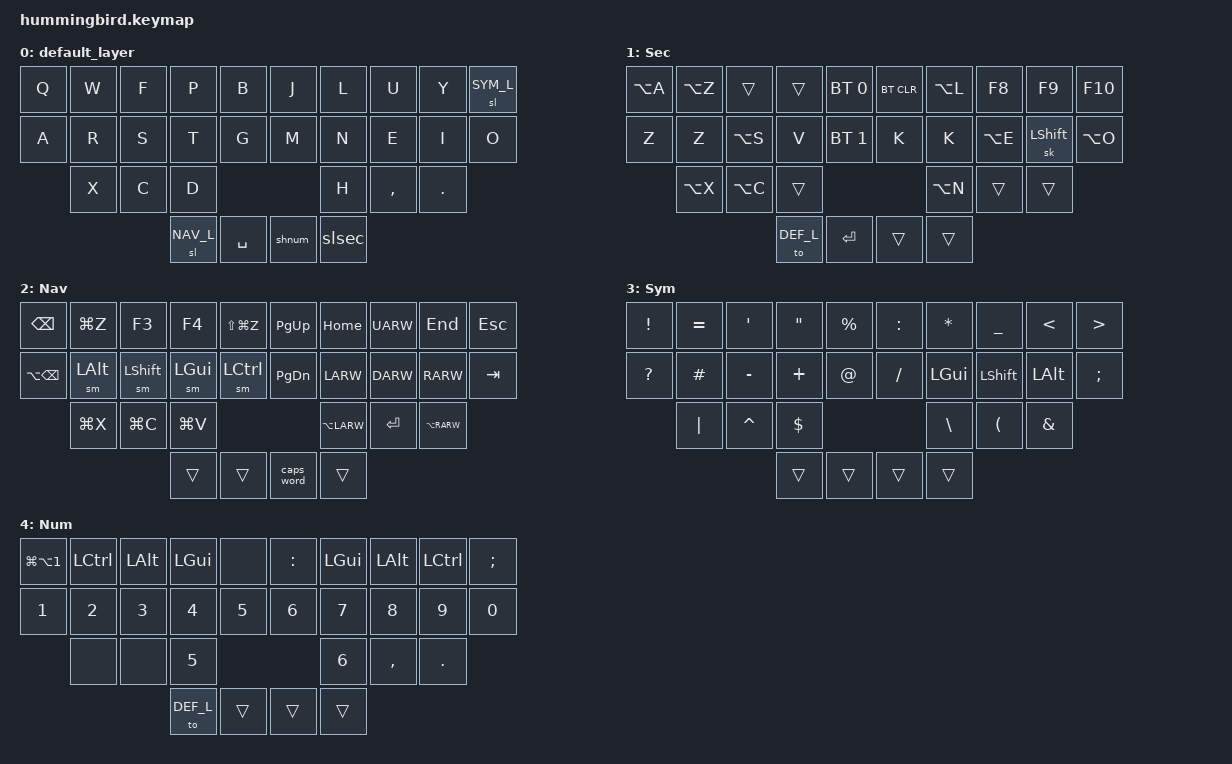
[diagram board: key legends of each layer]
/*
 * Copyright (c) 2020 The ZMK Contributors
 *
 * SPDX-License-Identifier: MIT
 */

#include <behaviors.dtsi>
#include <dt-bindings/zmk/keys.h>
#include <dt-bindings/zmk/bt.h>

/* Layers */
#define DEF_L 0
#define SEC_L 1
#define NAV_L 2
#define SYM_L 3
#define NUM_L 4

/* Shortcuts */
#define CUT LG(X)
#define COPY LG(C)
#define PASTE LG(V)
#define UNDO LG(Z)
#define REDO LS(LG(Z))
#define SLALL LG(A)
#define BSWRD LA(BSPC)
#define LWRD LA(LARW)
#define RWRD LA(RARW)
#define HDR LG(LA(1))
#define PLA LA(A)
#define PLC LA(C)
#define PLE LA(E)
#define PLL LA(L)
#define PLN LA(N)
#define PLO LA(O)
#define PLS LA(S)
#define PLZ LA(Z)
#define PLZI LA(X)

/* Behavior Settings */
&sk {
  release-after-ms = <250>;
  quick-release;
};

&sl {
  release-after-ms = <250>;
};

/ {
    behaviors {
        sm: sticky_mod {
            compatible = "zmk,behavior-sticky-key";
            label = "STICKY_MOD";
            #binding-cells = <1>;
            release-after-ms = <1500>;
            bindings = <&kp>;
            ignore-modifiers;
            quick-release;
        };

        shnum: shift_num {
            compatible = "zmk,behavior-tap-dance";
            label = "SHIFT_NUM";
            #binding-cells = <0>;
            tapping-term-ms = <200>;
            bindings = <&sk LSHIFT >, <&tog NUM_L>;
        };
    };

    macros {
        slsec: sl_sec {
            label = "SL_SEC";
            compatible = "zmk,behavior-macro";
            #binding-cells = <0>;
            wait-ms = <0>;
            tap-ms = <0>;
            bindings
                = <&macro_tap &sl SEC_L>
                ;
        };
    };

    combos {
        compatible = "zmk,combos";

        /*                KEY POSITIONS

             0   1   2   3   4      5   6   7   8   9
            10  11  12  13  14     15  16  17  18  19
                20  21  22             23  24  25
                        26  27     28  29              */

        /* Letters */
        v { key-positions = <12 13>; bindings = <&kp V>; layers = <DEF_L>; };
        k { key-positions = <16 17>; bindings = <&kp K>; layers = <DEF_L>; };
        z { key-positions = <10 11>; bindings = <&kp Z>; layers = <DEF_L>; };

        /* Symbols */
        bswrd { key-positions = <15 16>; bindings = <&kp BSWRD>; layers = <DEF_L>; };
        semi { key-positions = <24 25>; bindings = <&kp SEMI>; layers = <DEF_L SYM_L NUM_L>; };
        tilde { key-positions = <10 11>; bindings = <&kp TILDE>; layers = <SYM_L>; };

        /* Brackets */
        lbkt { key-positions = <1 11>; bindings = <&kp LBKT>; layers = <DEF_L SYM_L NUM_L>; };
        rbkt { key-positions = <8 18>; bindings = <&kp RBKT>; layers = <DEF_L SYM_L NUM_L>; };
        lpar { key-positions = <2 12>; bindings = <&kp LPAR>; layers = <DEF_L SYM_L NUM_L>; };
        rpar { key-positions = <7 17>; bindings = <&kp RPAR>; layers = <DEF_L SYM_L NUM_L>; };
        lbrc { key-positions = <3 13>; bindings = <&kp LBRC>; layers = <DEF_L SYM_L NUM_L>; };
        rbrc { key-positions = <6 16>; bindings = <&kp RBRC>; layers = <DEF_L SYM_L NUM_L>; };

        /* Convenience */
        esc { key-positions = <3 4>; bindings = <&kp ESC>; };
        del { key-positions = <13 14>; bindings = <&kp DEL>; };
        slall { key-positions = <20 21>; bindings = <&kp SLALL>; layers = <NAV_L>; };
    };

    keymap {
        compatible = "zmk,keymap";
        default_layer {
            bindings = <
                &kp Q     &kp W     &kp F     &kp P     &kp B       &kp J    &kp L     &kp U     &kp Y     &sl SYM_L
                &kp A     &kp R     &kp S     &kp T     &kp G       &kp M    &kp N     &kp E     &kp I     &kp O
                          &kp X     &kp C     &kp D                          &kp H     &kp COMMA &kp DOT
                                              &sl NAV_L &kp SPACE   &shnum   &slsec 
            >;
        };
        second_layer {
            label = "Sec";
            bindings = <
                &kp PLA    &kp PLZ  &trans     &trans     &bt BT_SEL 0  &bt BT_CLR &kp PLL    &kp F8     &kp F9     &kp F10
                &kp Z      &kp Z    &kp PLS    &kp V      &bt BT_SEL 1  &kp K      &kp K      &kp PLE    &sk LSHIFT &kp PLO
                           &kp PLZI &kp PLC    &trans                              &kp PLN    &trans     &trans 
                                               &to DEF_L  &kp ENTER     &trans     &trans

            >;
        };
        nav_layer {
            label = "Nav";
            bindings = <
                &kp BSPC  &kp UNDO  &kp F3    &kp F4    &kp REDO    &kp PG_UP  &kp HOME  &kp UARW  &kp END   &kp ESC
                &kp BSWRD &sm LALT  &sm LSHFT &sm LGUI  &sm LCTRL   &kp PG_DN  &kp LARW  &kp DARW  &kp RARW  &kp TAB
                          &kp CUT   &kp COPY  &kp PASTE                        &kp LWRD  &kp ENTER  &kp RWRD
                                              &trans    &trans      &caps_word &trans
            >;
        };
        sym_layer {
            label = "Sym";
            bindings = <
                &kp EXCL   &kp EQUAL &kp SQT   &kp DQT   &kp PRCNT    &kp COLON &kp ASTRK &kp UNDER &kp LT    &kp GT
                &kp QMARK  &kp HASH  &kp MINUS &kp PLUS  &kp AT       &kp FSLH  &kp LGUI  &kp LSHFT &kp LALT  &kp SEMI
                           &kp PIPE  &kp CARET &kp DLLR                         &kp BSLH  &kp LPAR  &kp AMPS
                                               &trans    &trans       &trans    &trans
            >;
        };
        num_layer {
            label = "Num";
            bindings = <
                &kp HDR   &kp LCTRL &kp LALT  &kp LGUI  &none       &kp COLON &kp LGUI  &kp LALT  &kp LCTRL &kp SEMI 
                &kp N1    &kp N2    &kp N3    &kp N4    &kp N5      &kp N6    &kp N7    &kp N8    &kp N9    &kp N0
                          &none     &none     &kp N5                          &kp N6    &kp COMMA &kp DOT 
                                              &to DEF_L &trans      &trans    &trans
            >;
        };
    };
};          
